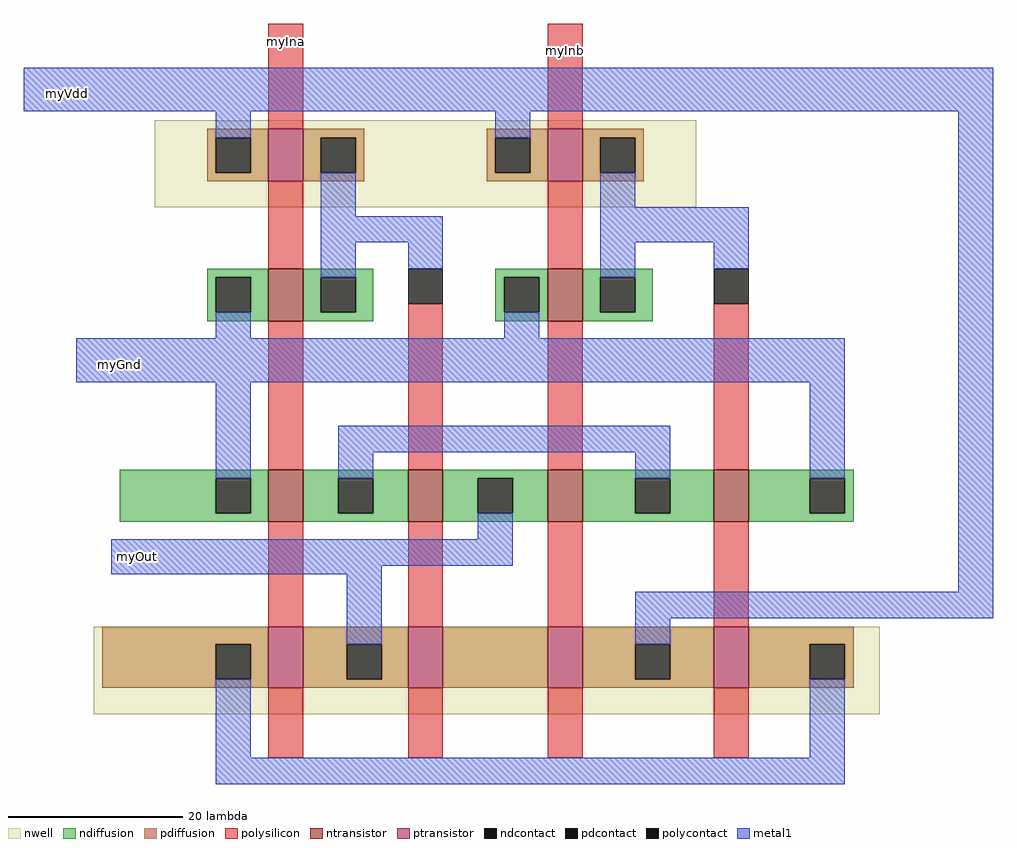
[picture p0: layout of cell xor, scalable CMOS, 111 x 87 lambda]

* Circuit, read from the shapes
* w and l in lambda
.subckt xor myGnd myIna myInb myOut myVdd
M1 n1 myIna myGnd VSUBS nfet w=6 l=4
M2 n2 myIna myGnd VSUBS nfet w=6 l=4
M3 myOut n2 n1 VSUBS nfet w=6 l=4
M4 n1 myInb myOut VSUBS nfet w=6 l=4
M5 n3 myInb myGnd VSUBS nfet w=6 l=4
M6 myGnd n3 n1 VSUBS nfet w=6 l=4
M7 myOut myIna n4 n5 pfet w=7 l=4
M8 n2 myIna myVdd n6 pfet w=6 l=4
M9 n7 n2 myOut n5 pfet w=7 l=4
M10 myVdd myInb n7 n5 pfet w=7 l=4
M11 n3 myInb myVdd n6 pfet w=6 l=4
M12 n4 n3 myVdd n5 pfet w=7 l=4
.ends

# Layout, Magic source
magic
tech scmos
<< nwell >>
rect -26 -2 36 8
rect -33 -60 57 -50
<< polysilicon >>
rect -13 7 -9 19
rect 19 7 23 19
rect -13 -9 -9 1
rect 19 -9 23 1
rect -13 -32 -9 -15
rect 3 -32 7 -13
rect 19 -32 23 -15
rect 38 -32 42 -13
rect -13 -50 -9 -38
rect 3 -50 7 -38
rect 19 -50 23 -38
rect 38 -50 42 -38
rect -13 -65 -9 -57
rect 3 -65 7 -57
rect 19 -65 23 -57
rect 38 -65 42 -57
<< ndiffusion >>
rect -20 -10 -13 -9
rect -20 -14 -19 -10
rect -15 -14 -13 -10
rect -20 -15 -13 -14
rect -9 -10 -1 -9
rect -9 -14 -7 -10
rect -3 -14 -1 -10
rect -9 -15 -1 -14
rect 13 -10 19 -9
rect 13 -14 14 -10
rect 18 -14 19 -10
rect 13 -15 19 -14
rect 23 -10 31 -9
rect 23 -14 25 -10
rect 29 -14 31 -10
rect 23 -15 31 -14
rect -30 -33 -13 -32
rect -30 -37 -19 -33
rect -15 -37 -13 -33
rect -30 -38 -13 -37
rect -9 -33 3 -32
rect -9 -37 -5 -33
rect -1 -37 3 -33
rect -9 -38 3 -37
rect 7 -33 19 -32
rect 7 -37 11 -33
rect 15 -37 19 -33
rect 7 -38 19 -37
rect 23 -33 38 -32
rect 23 -37 29 -33
rect 33 -37 38 -33
rect 23 -38 38 -37
rect 42 -33 54 -32
rect 42 -37 49 -33
rect 53 -37 54 -33
rect 42 -38 54 -37
<< pdiffusion >>
rect -20 6 -13 7
rect -20 2 -19 6
rect -15 2 -13 6
rect -20 1 -13 2
rect -9 6 -2 7
rect -9 2 -7 6
rect -3 2 -2 6
rect -9 1 -2 2
rect 12 6 19 7
rect 12 2 13 6
rect 17 2 19 6
rect 12 1 19 2
rect 23 6 30 7
rect 23 2 25 6
rect 29 2 30 6
rect 23 1 30 2
rect -32 -52 -13 -50
rect -32 -56 -19 -52
rect -15 -56 -13 -52
rect -32 -57 -13 -56
rect -9 -52 3 -50
rect -9 -56 -4 -52
rect 0 -56 3 -52
rect -9 -57 3 -56
rect 7 -57 19 -50
rect 23 -52 38 -50
rect 23 -56 29 -52
rect 33 -56 38 -52
rect 23 -57 38 -56
rect 42 -52 54 -50
rect 42 -56 49 -52
rect 53 -56 54 -52
rect 42 -57 54 -56
<< metal1 >>
rect -41 9 70 14
rect -19 6 -15 9
rect 13 6 17 9
rect -7 -3 -3 2
rect 25 -2 29 2
rect -7 -6 7 -3
rect -7 -10 -3 -6
rect 3 -9 7 -6
rect 25 -6 42 -2
rect 25 -10 29 -6
rect 38 -9 42 -6
rect -19 -17 -15 -14
rect 14 -17 18 -14
rect -35 -22 53 -17
rect -19 -33 -15 -22
rect -5 -30 33 -27
rect -5 -33 -1 -30
rect 29 -33 33 -30
rect 49 -33 53 -22
rect 11 -40 15 -37
rect -31 -43 15 -40
rect -31 -44 0 -43
rect -4 -52 0 -44
rect 66 -46 70 9
rect 29 -49 70 -46
rect 29 -52 33 -49
rect -19 -65 -15 -56
rect 49 -65 53 -56
rect -19 -68 53 -65
<< ntransistor >>
rect -13 -15 -9 -9
rect 19 -15 23 -9
rect -13 -38 -9 -32
rect 3 -38 7 -32
rect 19 -38 23 -32
rect 38 -38 42 -32
<< ptransistor >>
rect -13 1 -9 7
rect 19 1 23 7
rect -13 -57 -9 -50
rect 3 -57 7 -50
rect 19 -57 23 -50
rect 38 -57 42 -50
<< polycontact >>
rect 3 -13 7 -9
rect 38 -13 42 -9
<< ndcontact >>
rect -19 -14 -15 -10
rect -7 -14 -3 -10
rect 14 -14 18 -10
rect 25 -14 29 -10
rect -19 -37 -15 -33
rect -5 -37 -1 -33
rect 11 -37 15 -33
rect 29 -37 33 -33
rect 49 -37 53 -33
<< pdcontact >>
rect -19 2 -15 6
rect -7 2 -3 6
rect 13 2 17 6
rect 25 2 29 6
rect -19 -56 -15 -52
rect -4 -56 0 -52
rect 29 -56 33 -52
rect 49 -56 53 -52
<< labels >>
rlabel metal1 -36 11 -36 11 1 myVdd
rlabel polysilicon -11 17 -11 17 5 myIna
rlabel polysilicon 21 16 21 16 5 myInb
rlabel metal1 -30 -20 -30 -20 1 myGnd
rlabel metal1 -28 -42 -28 -42 1 myOut
<< end >>
